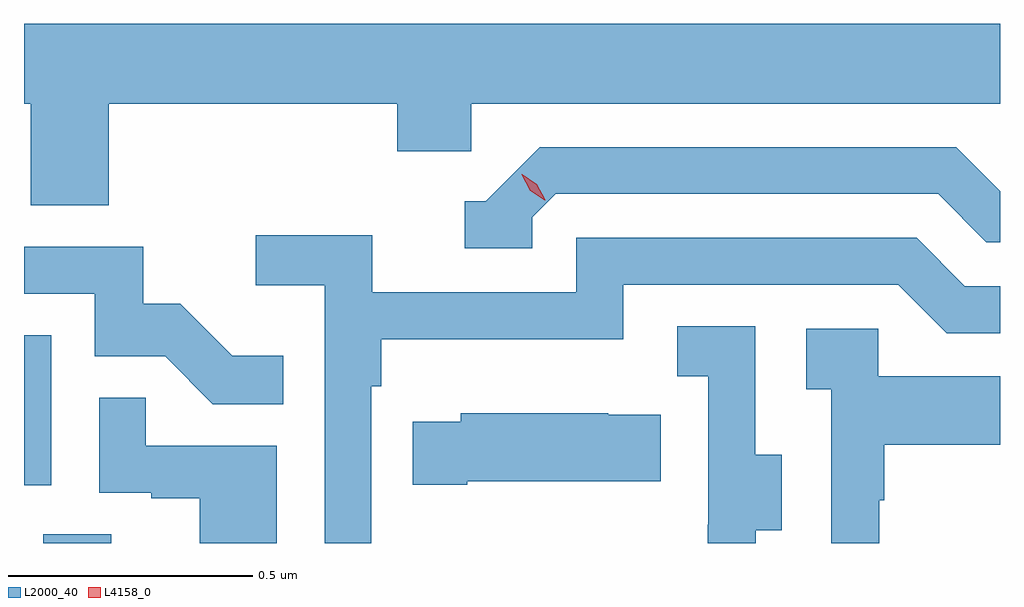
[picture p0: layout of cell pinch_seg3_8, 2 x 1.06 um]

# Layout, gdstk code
import gdstk
lib = gdstk.Library(unit=1e-6, precision=1e-09)
def R(c, l, rs):  # rectangles x0, y0, x1, y1
    for r in rs: c.add(gdstk.rectangle(r[:2], r[2:], *l))
def P(c, l, *ps):  # polygons
    for p in ps: c.add(gdstk.Polygon(p, *l))
L2000_40 = (2000, 40)
L4158_0 = (4158, 0)

pinch_seg3_8 = lib.new_cell('pinch_seg3_8')
R(pinch_seg3_8, L2000_40, [(1126.283,742.639,1126.423,742.658), (1126.244,742.758,1126.3,743.065)])
P(pinch_seg3_8, L2000_40, [(1126.418,743.54),(1127.009,743.54),(1127.009,743.442),(1127.16,743.442),(1127.16,743.54),(1128.244,743.54),(1128.244,743.704),(1126.244,743.704),(1126.244,743.54),(1126.258,743.54),(1126.258,743.332),(1126.418,743.332)],
  [(1127.286,743.307),(1127.334,743.355),(1128.117,743.355),(1128.216,743.256),(1128.244,743.256),(1128.244,743.361),(1128.154,743.451),(1127.301,743.451),(1127.19,743.34),(1127.147,743.34),(1127.147,743.244),(1127.286,743.244)],
  [(1126.956,742.961),(1126.976,742.961),(1126.976,743.057),(1127.472,743.057),(1127.472,743.169),(1128.036,743.169),(1128.135,743.07),(1128.244,743.07),(1128.244,743.166),(1128.172,743.166),(1128.073,743.265),(1127.376,743.265),(1127.376,743.154),(1126.958,743.154),(1126.958,743.27),(1126.719,743.27),(1126.719,743.168),(1126.86,743.168),(1126.86,742.639),(1126.956,742.639)],
  [(1126.775,743.023),(1126.671,743.023),(1126.564,743.13),(1126.488,743.13),(1126.488,743.247),(1126.244,743.247),(1126.244,743.151),(1126.389,743.151),(1126.389,743.022),(1126.533,743.022),(1126.631,742.924),(1126.775,742.924)],
  [(1127.743,742.666),(1127.797,742.666),(1127.797,742.821),(1127.742,742.821),(1127.742,743.084),(1127.583,743.084),(1127.583,742.981),(1127.646,742.981),(1127.646,742.677),(1127.645,742.677),(1127.645,742.639),(1127.743,742.639)],
  [(1127.997,742.727),(1128.007,742.727),(1128.007,742.841),(1128.244,742.841),(1128.244,742.981),(1127.994,742.981),(1127.994,743.079),(1127.847,743.079),(1127.847,742.955),(1127.898,742.955),(1127.898,742.639),(1127.997,742.639)],
  [(1126.762,742.839),(1126.493,742.839),(1126.493,742.937),(1126.398,742.937),(1126.398,742.743),(1126.505,742.743),(1126.505,742.731),(1126.604,742.731),(1126.604,742.639),(1126.762,742.639)],
  [(1127.152,742.766),(1127.549,742.766),(1127.549,742.903),(1127.441,742.903),(1127.441,742.906),(1127.139,742.906),(1127.139,742.888),(1127.041,742.888),(1127.041,742.759),(1127.152,742.759)])
P(pinch_seg3_8, L4158_0, [(1127.311,743.342),(1127.281,743.362),(1127.264,743.394),(1127.264,743.395),(1127.265,743.395),(1127.295,743.375),(1127.312,743.343),(1127.312,743.342)])

lib.write_gds('pinch_seg3_8.gds')
